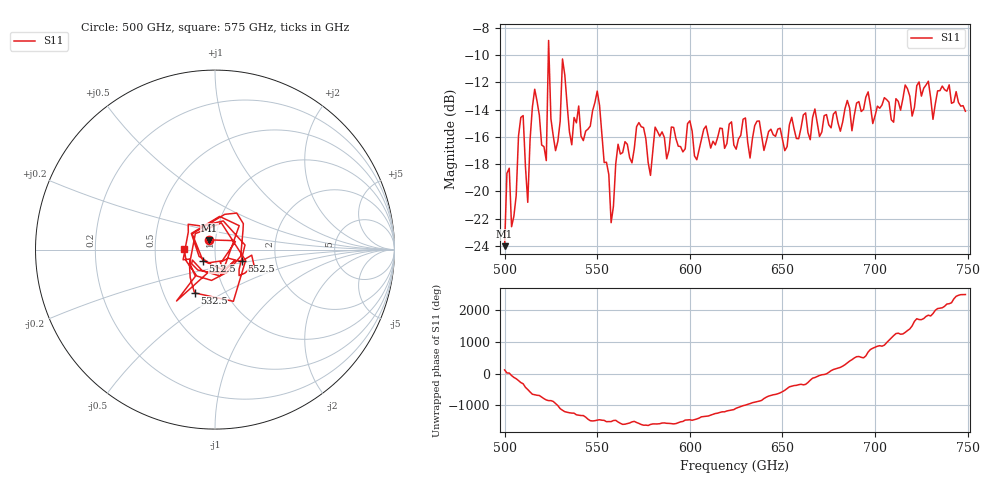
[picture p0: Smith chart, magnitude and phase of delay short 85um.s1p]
!Created with mwavepy.
# GHz S RI R 50.0
!freq	ReS11	ImS11
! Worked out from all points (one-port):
!   200 points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, 500 GHz to 748.8 GHz, reference 50 ohm
!   lowest |S11| = -24.0 dB at 500 GHz (marker M1), VSWR 1.13, Z = 46.6 + j5.06 ohm
!   |S11| at or under -10 dB: start of sweep to 523.6 GHz; 524 GHz to end of sweep
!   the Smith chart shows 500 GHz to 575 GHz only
!   S11 on the Smith chart (normalised r, x): 500 GHz: 0.93, +0.10; 512.5 GHz: 0.87, -0.11; 532.5 GHz: 0.71, -0.37; 552.5 GHz: 1.34, -0.18; 575 GHz: 0.71, +0.00
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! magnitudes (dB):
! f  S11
! 500 GHz  -24.0
! 501.2 GHz  -18.7
! 502.5 GHz  -18.3
! 503.8 GHz  -22.6
! 508.8 GHz  -14.6
! 512.5 GHz  -20.8
! 516.2 GHz  -12.5
! 522.5 GHz  -17.7
! 523.8 GHz  -8.9
! 525 GHz  -14.7
! 527.5 GHz  -17.0
! 530 GHz  -14.9
! 531.2 GHz  -10.3
! 532.5 GHz  -11.5
! 536.2 GHz  -16.6
! 550 GHz  -12.6
! 552.5 GHz  -15.8
! 557.5 GHz  -22.3
! 562.5 GHz  -17.3
! 575 GHz  -15.3
! 578.8 GHz  -18.8
! 581.2 GHz  -15.3
! 593.8 GHz  -16.7
! 625 GHz  -16.9
! 656.2 GHz  -15.4
! 687.5 GHz  -15.6
! 718.8 GHz  -13.0
! 748.8 GHz  -14.1
